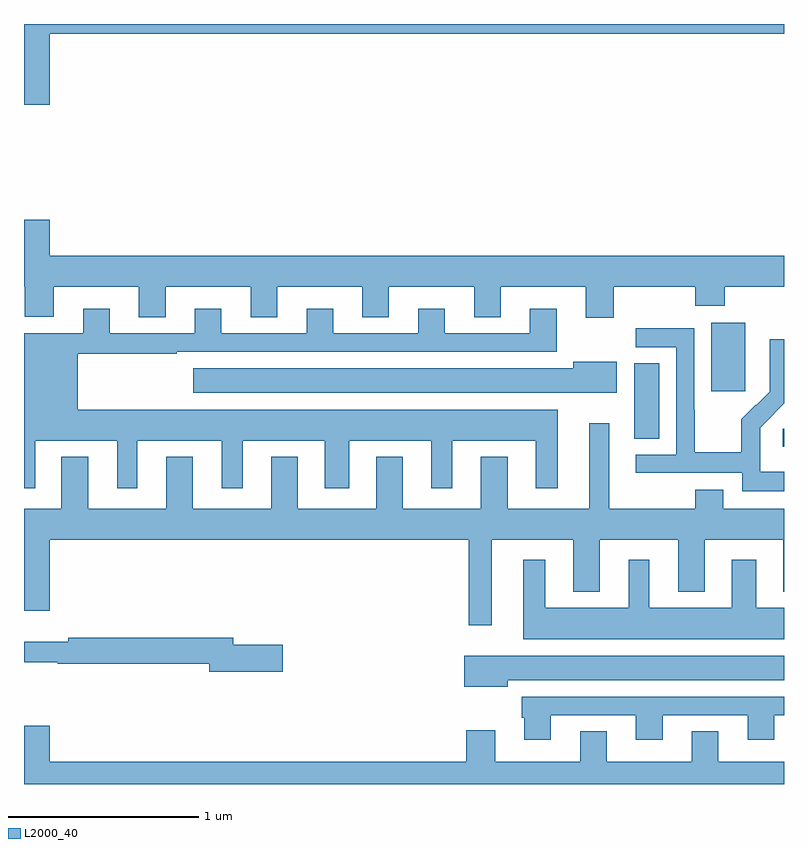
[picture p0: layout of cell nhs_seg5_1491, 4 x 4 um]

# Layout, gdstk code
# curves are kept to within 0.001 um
import gdstk
lib = gdstk.Library(unit=1e-6, precision=1e-09)
def R(c, l, rs):  # rectangles x0, y0, x1, y1
    for r in rs: c.add(gdstk.rectangle(r[:2], r[2:], *l))
def P(c, l, *ps):  # polygons
    for p in ps: c.add(gdstk.Polygon(p, *l))
L2000_40 = (2000, 40)

nhs_seg5_1491 = lib.new_cell('nhs_seg5_1491')
R(nhs_seg5_1491, L2000_40, [(204.993,866.573,205,866.67), (204.212,866.617,204.343,867.014), (204.617,866.865,204.796,867.226)])
P(nhs_seg5_1491, L2000_40, [(201.136,868.748),(205,868.748),(205,868.799),(201,868.799),(201,868.374),(201.136,868.374)],
  [(204.105,867.416),(204.532,867.416),(204.532,867.317),(204.687,867.317),(204.687,867.416),(205,867.416),(205,867.58),(201.136,867.58),(201.136,867.769),(201,867.769),(201,867.416),(201.005,867.416),(201.005,867.257),(201.157,867.257),(201.157,867.416),(201.605,867.416),(201.605,867.256),(201.745,867.256),(201.745,867.416),(202.193,867.416),(202.193,867.256),(202.333,867.256),(202.333,867.416),(202.781,867.416),(202.781,867.256),(202.921,867.256),(202.921,867.416),(203.369,867.416),(203.369,867.256),(203.509,867.256),(203.509,867.416),(203.957,867.416),(203.957,867.252),(204.105,867.252)],
  [(201.058,866.606),(201.491,866.606),(201.491,866.355),(201.595,866.355),(201.595,866.606),(202.04,866.606),(202.04,866.355),(202.15,866.355),(202.15,866.606),(202.583,866.606),(202.583,866.355),(202.711,866.355),(202.711,866.606),(203.144,866.606),(203.144,866.355),(203.254,866.355),(203.254,866.606),(203.693,866.606),(203.693,866.355),(203.809,866.355),(203.809,866.77),(201.283,866.77),(201.283,867.063),(201.803,867.063),(201.803,867.075),(203.803,867.075),(203.803,867.301),(203.663,867.301),(203.663,867.171),(203.215,867.171),(203.215,867.301),(203.075,867.301),(203.075,867.171),(202.627,867.171),(202.627,867.301),(202.487,867.301),(202.487,867.171),(202.039,867.171),(202.039,867.301),(201.899,867.301),(201.899,867.171),(201.451,867.171),(201.451,867.301),(201.311,867.301),(201.311,867.172),(201,867.172),(201,866.355),(201.058,866.355)],
  [(205,866.443),(204.876,866.443),(204.876,866.577),(204.874,866.577),(204.874,866.674),(205,866.802),(205,867.14),(204.924,867.14),(204.924,866.986),(204.926,866.986),(204.926,866.864),(204.855,866.793),(204.852,866.796),(204.775,866.719),(204.775,866.545),(204.531,866.545),(204.531,866.768),(204.528,866.768),(204.528,867.198),(204.219,867.198),(204.219,867.099),(204.432,867.099),(204.432,866.532),(204.219,866.532),(204.219,866.436),(204.78,866.436),(204.78,866.339),(205,866.339)],
  [(204.121,867.022),(203.891,867.022),(203.891,866.986),(201.891,866.986),(201.891,866.858),(204.121,866.858)],
  [(201.197,866.521),(201.197,866.248),(201,866.248),(201,865.71),(201.136,865.71),(201.136,866.084),(203.34,866.084),(203.34,865.635),(203.461,865.635),(203.461,866.084),(203.891,866.084),(203.891,865.811),(204.031,865.811),(204.031,866.084),(204.443,866.084),(204.443,865.811),(204.583,865.811),(204.583,866.084),(204.995,866.084),(204.995,865.811),(205,865.811),(205,866.248),(204.679,866.248),(204.679,866.347),(204.532,866.347),(204.532,866.248),(204.079,866.248),(204.079,866.698),(203.975,866.698),(203.975,866.248),(203.545,866.248),(203.545,866.521),(203.405,866.521),(203.405,866.248),(202.993,866.248),(202.993,866.521),(202.853,866.521),(202.853,866.248),(202.441,866.248),(202.441,866.521),(202.301,866.521),(202.301,866.248),(201.889,866.248),(201.889,866.521),(201.749,866.521),(201.749,866.248),(201.337,866.248),(201.337,866.521)],
  [(205,865.726),(204.853,865.726),(204.853,865.978),(204.725,865.978),(204.725,865.726),(204.292,865.726),(204.292,865.978),(204.182,865.978),(204.182,865.726),(203.743,865.726),(203.743,865.978),(203.627,865.978),(203.627,865.562),(205,865.562)],
  [(202.363,865.532),(202.102,865.532),(202.102,865.568),(201.232,865.568),(201.232,865.549),(201,865.549),(201,865.44),(201.178,865.44),(201.178,865.432),(201.974,865.432),(201.974,865.39),(202.363,865.39)],
  [(203.545,865.346),(205,865.346),(205,865.474),(203.316,865.474),(203.316,865.31),(203.545,865.31)],
  [(203.773,865.161),(204.221,865.161),(204.221,865.032),(204.361,865.032),(204.361,865.161),(204.809,865.161),(204.809,865.032),(204.949,865.032),(204.949,865.161),(205,865.161),(205,865.257),(203.621,865.257),(203.621,865.149),(203.633,865.149),(203.633,865.032),(203.773,865.032)],
  [(205,864.916),(204.655,864.916),(204.655,865.076),(204.515,865.076),(204.515,864.916),(204.067,864.916),(204.067,865.076),(203.927,865.076),(203.927,864.916),(203.479,864.916),(203.479,865.081),(203.327,865.081),(203.327,864.916),(201.136,864.916),(201.136,865.105),(201,865.105),(201,864.799),(205,864.799)])

lib.write_gds('nhs_seg5_1491.gds')
